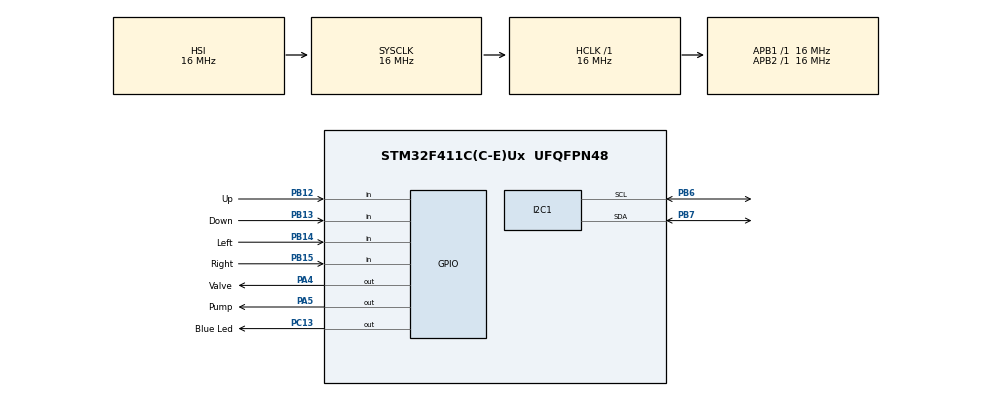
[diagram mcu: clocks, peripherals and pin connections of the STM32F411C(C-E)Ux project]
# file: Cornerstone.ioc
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I2C1.I2C_Mode=I2C_Fast
Mcu.Family=STM32F4
Mcu.Name=STM32F411C(C-E)Ux
Mcu.Package=UFQFPN48
NVIC.PriorityGroup=NVIC_PRIORITYGROUP_4
PA4.GPIO_Label=Valve
PA4.PinState=GPIO_PIN_RESET
PA4.Signal=GPIO_Output
PA5.GPIO_Label=Pump
PA5.PinState=GPIO_PIN_RESET
PA5.Signal=GPIO_Output
PB12.GPIO_Label=Up
PB12.Signal=GPIO_Input
PB13.GPIO_Label=Down
PB13.Signal=GPIO_Input
PB14.GPIO_Label=Left
PB14.Signal=GPIO_Input
PB15.GPIO_Label=Right
PB15.Signal=GPIO_Input
PB6.Mode=I2C
PB6.Signal=I2C1_SCL
PB7.Mode=I2C
PB7.Signal=I2C1_SDA
PC13-ANTI_TAMP.GPIO_Label=Blue Led
PC13-ANTI_TAMP.Signal=GPIO_Output
ProjectManager.HeapSize=0x200
ProjectManager.StackSize=0x400
ProjectManager.TargetToolchain=STM32CubeIDE
RCC.AHBFreq_Value=16000000
RCC.APB1Freq_Value=16000000
RCC.APB2Freq_Value=16000000
RCC.CortexFreq_Value=16000000
RCC.HSE_VALUE=25000000
RCC.HSI_VALUE=16000000
RCC.LSE_VALUE=32768
RCC.SYSCLKFreq_VALUE=16000000
RCC.VCOOutputFreq_Value=192000000
board=custom

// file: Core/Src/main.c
/* USER CODE BEGIN Header */
/**
  ******************************************************************************
  * @file           : main.c
  * @brief          : Main program body
  ******************************************************************************
  * @attention
  *
  * Copyright (c) 2024 STMicroelectronics.
  * All rights reserved.
  *
  * This software is licensed under terms that can be found in the LICENSE file
  * in the root directory of this software component.
  * If no LICENSE file comes with this software, it is provided AS-IS.
  *
  ******************************************************************************
  */
/* USER CODE END Header */
#include "main.h"

/* USER CODE BEGIN Includes */
#include "ssd1306_tests.h"
#include "ssd1306.h"
/* USER CODE END Includes */

I2C_HandleTypeDef hi2c1;

void SystemClock_Config(void);
static void MX_GPIO_Init(void);
static void MX_I2C1_Init(void);

/* USER CODE BEGIN 0 */
void getTimeFromMS(uint32_t ms, int *clock) {
	int hours = ms / 3600000;
	int minutes = (ms % 3600000) / 60000;
	//int seconds = ((*ms % 3600000) % 60000) / 1000;
	clock[0] = hours;
	clock[1] = minutes;
	/*else if(hours == 0) {
		clock[0] = minutes;
		clock[1] = seconds;
	}*/
}

void SaveToFlash() {
    // Открываем доступ к флэш-памяти для записи
    HAL_FLASH_Unlock();

    // Стираем сектор 6 перед записью
    FLASH_Erase_Sector(FLASH_SECTOR_6, VOLTAGE_RANGE_3);

    // Writing Interval value to permanent memory
    HAL_FLASH_Program(FLASH_TYPEPROGRAM_WORD, Address, Interval);

    // Writing Duration
    HAL_FLASH_Program(FLASH_TYPEPROGRAM_WORD, Address + 4, Duration);

    // Writing how many times irrigation system has poured
    HAL_FLASH_Program(FLASH_TYPEPROGRAM_WORD, Address + 8, TimesWasPoured);

    // Закрываем доступ к флэш-памяти после записи
    HAL_FLASH_Lock();
}

void LoadFromFlash() {
    // Reading of Interval value and saving in variable at address 0x08040000
    Interval = *(__IO uint32_t*)Address;
    NewInterval = Interval;
    TimeLeft = Interval;

    // Reading Duration from the address 0x08040004
    Duration = *(__IO uint32_t*)(Address + 4);
    NewDuration = Duration;

    // Reading TimesWasPoured at the address 0x08040008
    TimesWasPoured = *(__IO uint32_t*)(Address + 8);
}

void ApplyNewInterval() {
	Interval = NewInterval;

	TimePassed = 0;
	TimeLeft = NewInterval;
}

void ApplyNewDuration() {
	Duration = NewDuration;
}

void ResetNewInterval() {
	NewInterval = Interval;
}

void ResetNewDuration() {
	NewDuration = Duration;
}

void UpdateLastTime() {
	if(WasPoured == false) {
		menu_list[3][0] = "noch nicht";
		menu_list[3][1] = "verwendet";
	}
	else {
		getTimeFromMS(TimePassed, timeBar);
		sprintf(str, "vor %02d:%02d", timeBar[0], timeBar[1]);
		menu_list[3][0] = str;
		menu_list[3][1] = "verwendet";
	}
}

void UpdateNextTime() {
	getTimeFromMS(TimeLeft, timeBar);
	sprintf(str, "noch %02d:%02d", timeBar[0], timeBar[1]);
	menu_list[4][0] = str;
	//menu_list[4][1] = "zum Giessen";
}

void SetPouringCountInMenuList() {
	sprintf(str, "%d mal", TimesWasPoured);
	menu_list[5][0] = str;

}

void ResetPouringCount() {
	TimesWasPoured = 0;
}

void WakeUp() {
	DisplayShutDownTime = 0;
	if(menu_option == OFF) {
		menu_option = READY;
		setting_option = MENU;
		ssd1306_TestMenu(menu_list[(int)menu_option][0], menu_list[(int)menu_option][1], menu_option);
	}
}

char *menu_list[6][2] = {
						{"Fertig", ""},           // 0
						{"Giess-", "Intervall"},  // 1
						{"Giess-", "Dauer"},      // 2
						{""},                     // 3
						{"", "zum Giessen"},      // 4
						{"", "gegossen"}          // 5
};

Menu_Option *menu_option = OFF;

char str[11] = "";

Setting_Option *setting_option = MENU;

const int MENU_COUNT = 5;

bool pressedUpButton = false, pressedDownButton = false, pressedLeftButton = false, pressedRightButton = false;

uint32_t Interval = 86400000; // 24 hours // 86,400,000 milliseconds //
uint32_t NewInterval = 86400000;
const uint32_t MaxInterval = 345600000; // 4 days // 345,600,000 milliseconds //

uint32_t Duration = 20000; // 20 seconds // 20,000 milliseconds //
uint32_t NewDuration = 20000;
const uint32_t MaxDuration = 900000; // 900 seconds // 900,000 milliseconds //

int timeBar[2] = {0, 0};

uint32_t TimesWasPoured = 0;
uint32_t Address = 0x08040000;

uint32_t TimePassed = 0;
uint32_t TimeLeft = 86400000; // default Interval value
int DisplayShutDownTime = 0;

bool WasPoured = false;
bool IsPouring = false;

/* USER CODE END 0 */

int main(void)
{

  /* MCU Configuration--------------------------------------------------------*/

  /* Reset of all peripherals, Initializes the Flash interface and the Systick. */
  HAL_Init();

  /* Configure the system clock */
  SystemClock_Config();

  /* Initialize all configured peripherals */
  MX_GPIO_Init();
  MX_I2C1_Init();
  /* USER CODE BEGIN 2 */
  ssd1306_Init();
  LoadFromFlash();
  /* USER CODE END 2 */

  /* Infinite loop */
  /* USER CODE BEGIN WHILE */
  while(true)
  {
    /* USER CODE END WHILE */

    /* USER CODE BEGIN 3 */

	  // UP - BEGIN
	  HAL_Delay(100);
	  if(HAL_GPIO_ReadPin (GPIOB, GPIO_PIN_14) == GPIO_PIN_RESET)
      {
		  pressedUpButton = true;
		  continue;
      }
	  else if (pressedUpButton == true)
	  {
		  pressedUpButton = false;
		  DisplayShutDownTime = 0;
		  if(menu_option == OFF) {
			  WakeUp();
			  continue;
		  }

		  if(setting_option == MENU) {
			  if(menu_option > 0) {
				  menu_option --;
				  if(menu_option == 3) {
					  UpdateLastTime();
				  }
				  else if(menu_option == 4) {
					  UpdateNextTime();
				  }
				  else if(menu_option == 5) {
					  SetPouringCountInMenuList();
				  }
				  ssd1306_TestMenu(menu_list[(int)menu_option][0], menu_list[(int)menu_option][1], menu_option);
			  }
		  }
		  else if(setting_option == INTERVAL_SETTING) {
			  if(intervalSection == HOURS) {
				  if(NewInterval + 3600000 <= MaxInterval) {
					  NewInterval += 3600000;
				  }
			  }
			  else if(intervalSection == MINUTES) {
				  if(NewInterval + 60000 <= MaxInterval) {
					  NewInterval += 60000;
				  }
			  }
			  else if(intervalSection == SET_INTERVAL) {
				  // nothing
			  }
			  getTimeFromMS(NewInterval, timeBar);
			  ssd1306_TestIntervalSetting(timeBar, NewInterval);
		  }
		  else if(setting_option == DURATION_SETTING) {
			  if(durationSection == SECONDS) {
				  if(NewDuration + 1000 <= MaxDuration) {
					  NewDuration += 1000;
				  }
			  }
			  else if(durationSection == SET_DURATION) {
				  // nothing
			  }

			  ssd1306_TestDurationSetting(NewDuration);
		  }
		  else if(setting_option == TIMES_POURED_ZEROING) {
			  ////////////////
		  }

		  continue;
	  }
	  // UP - END

	  // DOWN - BEGIN
	  if(HAL_GPIO_ReadPin (GPIOB, GPIO_PIN_13) == GPIO_PIN_RESET)
      {
		  pressedDownButton = true;
		  continue;
      }
	  else if (pressedDownButton == true)
	  {
		  pressedDownButton = false;
		  DisplayShutDownTime = 0;
		  if(menu_option == OFF) {
			  WakeUp();
			  continue;
		  }

		  if(setting_option == MENU) {
			  if(menu_option < MENU_COUNT) {
				  menu_option ++;

				  if(menu_option == 3) {
					  UpdateLastTime();
				  }
				  else if(menu_option == 4) {
					  UpdateNextTime();
				  }
				  else if(menu_option == 5) {
					  SetPouringCountInMenuList();
				  }
				  ssd1306_TestMenu(menu_list[(int)menu_option][0], menu_list[(int)menu_option][1], menu_option);
			  }
		  }
		  else if(setting_option == INTERVAL_SETTING) {
			  if(intervalSection == HOURS) {
				  if(NewInterval >= 3600000) {
					  NewInterval -= 3600000;
				  }
			  }
			  else if(intervalSection == MINUTES) {
				  if(NewInterval >= 60000) {
					  NewInterval -= 60000;
				  }
			  }
			  else if(intervalSection == SET_INTERVAL) {
				  // nothing
			  }
			  getTimeFromMS(NewInterval, timeBar);
			  ssd1306_TestIntervalSetting(timeBar, NewInterval);
		  }
		  else if(setting_option == DURATION_SETTING) {
			  if(durationSection == SECONDS) {
				  if(NewDuration >= 1000) {
					  NewDuration -= 1000;
				  }
			  }
			  else if(durationSection == SET_DURATION) {
				  // nothing
			  }

			  ssd1306_TestDurationSetting(NewDuration);
		  }
		  else if(setting_option == TIMES_POURED_ZEROING) {
			  /////////////////
		  }

		  continue;
	  }
	  // DOWN - END

	  // LEFT (BACK) - BEGIN
	  if(HAL_GPIO_ReadPin (GPIOB, GPIO_PIN_12) == GPIO_PIN_RESET)
      {
		  pressedLeftButton = true;
		  continue;
      }
	  else if (pressedLeftButton == true)
	  {
		  pressedLeftButton = false;
		  DisplayShutDownTime = 0;
		  if(menu_option == OFF) {
			  WakeUp();
			  continue;
		  }

		  if(setting_option == MENU) {
			  // nothing
		  }
		  else if(setting_option == INTERVAL_SETTING) {
			  if(intervalSection > 0) {
				  intervalSection--;
				  ssd1306_TestIntervalSetting(timeBar, NewInterval);
			  }
			  else {
				  ResetNewInterval();
				  intervalSection = HOURS;
				  setting_option = MENU;
				  ssd1306_TestMenu(menu_list[(int)menu_option][0], menu_list[(int)menu_option][1], menu_option);
			  }
		  }
		  else if(setting_option == DURATION_SETTING) {
			  if(durationSection > 0) {
				  durationSection--;
				  ssd1306_TestDurationSetting(NewDuration);
			  }
			  else {
				  ResetNewDuration();
				  durationSection = SECONDS;
				  setting_option = MENU;
				  ssd1306_TestMenu(menu_list[(int)menu_option][0], menu_list[(int)menu_option][1], menu_option);
			  }
		  }
		  else if(setting_option == TIMES_POURED_ZEROING) {
			  setting_option = MENU;
			  ssd1306_TestMenu(menu_list[(int)menu_option][0], menu_list[(int)menu_option][1], menu_option);
		  }

		  continue;
	  }
	  // LEFT (BACK) - END

	  // RIGHT (OKAY) - BEGIN
	  if(HAL_GPIO_ReadPin (GPIOB, GPIO_PIN_15) == GPIO_PIN_RESET)
      {
		  pressedRightButton = true;
		  continue;
      }
	  else if (pressedRightButton == true)
	  {
		  pressedRightButton = false;
		  DisplayShutDownTime = 0;
		  if(menu_option == OFF) {
			  WakeUp();
			  continue;
		  }

		  if(setting_option == MENU) {

			  if(menu_option == READY) {
				  menu_option = OFF;
				  ssd1306_TurnOff();
			  }
			  else if(menu_option == INTERVAL) {
				  setting_option = INTERVAL_SETTING;
				  getTimeFromMS(NewInterval, timeBar);
				  ssd1306_TestIntervalSetting(timeBar, NewInterval);
			  }
			  else if(menu_option == DURATION) {
				  setting_option = DURATION_SETTING;
				  ssd1306_TestDurationSetting(NewDuration);
			  }
			  else if(menu_option == LAST_TIME) {

			  }
			  else if(menu_option == NEXT_TIME) {

			  }
			  else if(menu_option == TIMES_POURED) {
				  setting_option = TIMES_POURED_ZEROING;
				  ssd1306_TestZeroingTimes();
			  }
		  }
		  else if(setting_option == INTERVAL_SETTING) {
			  if(intervalSection < 2) {
				  intervalSection++;
				  ssd1306_TestIntervalSetting(timeBar, NewInterval);
			  }
			  else {
				  ApplyNewInterval();
				  SaveToFlash();
				  intervalSection = HOURS;
				  setting_option = MENU;
				  ssd1306_TestMenu(menu_list[(int)menu_option][0], menu_list[(int)menu_option][1], menu_option);
			  }
		  }
		  else if(setting_option == DURATION_SETTING) {
			  if(durationSection < 1) {
				  durationSection++;
				  ssd1306_TestDurationSetting(NewDuration);
			  }
			  else {
				  ApplyNewDuration();
				  SaveToFlash();
				  durationSection = SECONDS;
				  setting_option = MENU;
				  ssd1306_TestMenu(menu_list[(int)menu_option][0], menu_list[(int)menu_option][1], menu_option);
			  }
		  }
		  else if(setting_option == TIMES_POURED_ZEROING) {
			  ResetPouringCount();
			  SetPouringCountInMenuList();
			  setting_option = MENU;
			  ssd1306_TestMenu(menu_list[(int)menu_option][0], menu_list[(int)menu_option][1], menu_option);
		  }

		  continue;
	  }
	  // RIGHT (OKAY) - END

	  // TIME COUNT //
	 //     \/     //

	  if(IsPouring) {
		  // PA4 - VALVE // PA5 - PUMP //
		  HAL_GPIO_WritePin(GPIOA, GPIO_PIN_4, GPIO_PIN_SET);
		  HAL_Delay(500);
		  HAL_GPIO_WritePin(GPIOA, GPIO_PIN_5, GPIO_PIN_SET);
		  HAL_Delay(Duration);
		  HAL_GPIO_WritePin(GPIOA, GPIO_PIN_4, GPIO_PIN_RESET);
		  HAL_GPIO_WritePin(GPIOA, GPIO_PIN_5, GPIO_PIN_RESET);

		  TimeLeft = Interval;
		  TimePassed = 0;
		  WasPoured = true;
		  TimesWasPoured++;
		  SaveToFlash();
		  IsPouring = false;
	  }

	  if(menu_option == OFF) {
		  TimeLeft -= 100;
		  TimePassed += 100;

		  if(TimeLeft == 0) {
			  IsPouring = true;
		  }
	  }

	  if(DisplayShutDownTime == 199) {
		  menu_option = OFF;
		  ssd1306_TurnOff();
	  }
	  if(DisplayShutDownTime < 200 && setting_option == MENU) {
		  DisplayShutDownTime++;
	  }
  }
  /* USER CODE END 3 */
}

void SystemClock_Config(void)
{
  RCC_OscInitTypeDef RCC_OscInitStruct = {0};
  RCC_ClkInitTypeDef RCC_ClkInitStruct = {0};

  /** Configure the main internal regulator output voltage
  */
  __HAL_RCC_PWR_CLK_ENABLE();
  __HAL_PWR_VOLTAGESCALING_CONFIG(PWR_REGULATOR_VOLTAGE_SCALE1);

  /** Initializes the RCC Oscillators according to the specified parameters
  * in the RCC_OscInitTypeDef structure.
  */
  RCC_OscInitStruct.OscillatorType = RCC_OSCILLATORTYPE_HSI;
  RCC_OscInitStruct.HSIState = RCC_HSI_ON;
  RCC_OscInitStruct.HSICalibrationValue = RCC_HSICALIBRATION_DEFAULT;
  RCC_OscInitStruct.PLL.PLLState = RCC_PLL_NONE;
  if (HAL_RCC_OscConfig(&RCC_OscInitStruct) != HAL_OK)
  {
    Error_Handler();
  }

  /** Initializes the CPU, AHB and APB buses clocks
  */
  RCC_ClkInitStruct.ClockType = RCC_CLOCKTYPE_HCLK|RCC_CLOCKTYPE_SYSCLK
                              |RCC_CLOCKTYPE_PCLK1|RCC_CLOCKTYPE_PCLK2;
  RCC_ClkInitStruct.SYSCLKSource = RCC_SYSCLKSOURCE_HSI;
  RCC_ClkInitStruct.AHBCLKDivider = RCC_SYSCLK_DIV1;
  RCC_ClkInitStruct.APB1CLKDivider = RCC_HCLK_DIV1;
  RCC_ClkInitStruct.APB2CLKDivider = RCC_HCLK_DIV1;

  if (HAL_RCC_ClockConfig(&RCC_ClkInitStruct, FLASH_LATENCY_0) != HAL_OK)
  {
    Error_Handler();
  }
}

static void MX_I2C1_Init(void)
{

  hi2c1.Instance = I2C1;
  hi2c1.Init.ClockSpeed = 400000;
  hi2c1.Init.DutyCycle = I2C_DUTYCYCLE_2;
  hi2c1.Init.OwnAddress1 = 0;
  hi2c1.Init.AddressingMode = I2C_ADDRESSINGMODE_7BIT;
  hi2c1.Init.DualAddressMode = I2C_DUALADDRESS_DISABLE;
  hi2c1.Init.OwnAddress2 = 0;
  hi2c1.Init.GeneralCallMode = I2C_GENERALCALL_DISABLE;
  hi2c1.Init.NoStretchMode = I2C_NOSTRETCH_DISABLE;
  if (HAL_I2C_Init(&hi2c1) != HAL_OK)
  {
    Error_Handler();
  }

}

static void MX_GPIO_Init(void)
{
  GPIO_InitTypeDef GPIO_InitStruct = {0};

  /* GPIO Ports Clock Enable */
  __HAL_RCC_GPIOC_CLK_ENABLE();
  __HAL_RCC_GPIOA_CLK_ENABLE();
  __HAL_RCC_GPIOB_CLK_ENABLE();

  /*Configure GPIO pin Output Level */
  HAL_GPIO_WritePin(Blue_Led_GPIO_Port, Blue_Led_Pin, GPIO_PIN_RESET);

  /*Configure GPIO pin Output Level */
  HAL_GPIO_WritePin(GPIOA, Valve_Pin|Pump_Pin, GPIO_PIN_RESET);

  /*Configure GPIO pin : Blue_Led_Pin */
  GPIO_InitStruct.Pin = Blue_Led_Pin;
  GPIO_InitStruct.Mode = GPIO_MODE_OUTPUT_PP;
  GPIO_InitStruct.Pull = GPIO_NOPULL;
  GPIO_InitStruct.Speed = GPIO_SPEED_FREQ_LOW;
  HAL_GPIO_Init(Blue_Led_GPIO_Port, &GPIO_InitStruct);

  /*Configure GPIO pins : Valve_Pin Pump_Pin */
  GPIO_InitStruct.Pin = Valve_Pin|Pump_Pin;
  GPIO_InitStruct.Mode = GPIO_MODE_OUTPUT_PP;
  GPIO_InitStruct.Pull = GPIO_NOPULL;
  GPIO_InitStruct.Speed = GPIO_SPEED_FREQ_LOW;
  HAL_GPIO_Init(GPIOA, &GPIO_InitStruct);

  /*Configure GPIO pins : Up_Pin Down_Pin Left_Pin Right_Pin */
  GPIO_InitStruct.Pin = Up_Pin|Down_Pin|Left_Pin|Right_Pin;
  GPIO_InitStruct.Mode = GPIO_MODE_INPUT;
  GPIO_InitStruct.Pull = GPIO_NOPULL;
  HAL_GPIO_Init(GPIOB, &GPIO_InitStruct);

}

void Error_Handler(void)
{
  __disable_irq();
  while (1)
  {
  }
}
